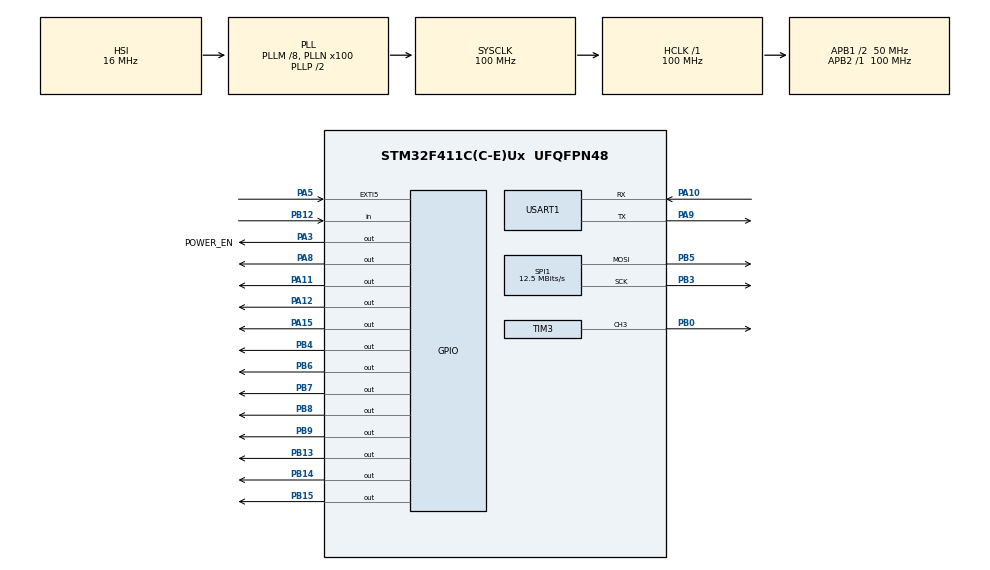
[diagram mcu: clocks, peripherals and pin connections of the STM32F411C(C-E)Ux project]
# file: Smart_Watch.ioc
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Dma.Request0=SPI1_TX
Dma.Request1=USART1_RX
Dma.SPI1_TX.0.Direction=DMA_MEMORY_TO_PERIPH
Dma.SPI1_TX.0.FIFOMode=DMA_FIFOMODE_DISABLE
Dma.SPI1_TX.0.Instance=DMA2_Stream2
Dma.SPI1_TX.0.MemDataAlignment=DMA_MDATAALIGN_HALFWORD
Dma.SPI1_TX.0.MemInc=DMA_MINC_ENABLE
Dma.SPI1_TX.0.Mode=DMA_NORMAL
Dma.SPI1_TX.0.PeriphDataAlignment=DMA_PDATAALIGN_HALFWORD
Dma.SPI1_TX.0.PeriphInc=DMA_PINC_DISABLE
Dma.SPI1_TX.0.Priority=DMA_PRIORITY_LOW
Dma.USART1_RX.1.Direction=DMA_PERIPH_TO_MEMORY
Dma.USART1_RX.1.FIFOMode=DMA_FIFOMODE_DISABLE
Dma.USART1_RX.1.Instance=DMA2_Stream5
Dma.USART1_RX.1.MemDataAlignment=DMA_MDATAALIGN_BYTE
Dma.USART1_RX.1.MemInc=DMA_MINC_ENABLE
Dma.USART1_RX.1.Mode=DMA_CIRCULAR
Dma.USART1_RX.1.PeriphDataAlignment=DMA_PDATAALIGN_BYTE
Dma.USART1_RX.1.PeriphInc=DMA_PINC_DISABLE
Dma.USART1_RX.1.Priority=DMA_PRIORITY_MEDIUM
FREERTOS.BinarySemaphores01=BT_switch,Dynamic,NULL,Available
FREERTOS.Mutexes01=ReadDataMutex,Dynamic,NULL,Available;UartMutex,Dynamic,NULL,Available
FREERTOS.Queues01=BTTxQueue,8,128,1,Dynamic,NULL,NULL
FREERTOS.Tasks01=LVGL_Tick,40,2048,StartLVGL_Tick,Default,NULL,Dynamic,NULL,NULL;AHT21_task,24,256,AHT21_starttask,Default,NULL,Dynamic,NULL,NULL;MPU6050_task,24,256,MPU6050_starttask,Default,NULL,Dynamic,NULL,NULL;SPL06_001_task,24,256,SPL06_starttask,Default,NULL,Dynamic,NULL,NULL;EM7028_task,24,256,EM7028_starttask,Default,NULL,Dynamic,NULL,NULL;LSM303DLHC_task,24,256,LSM303_starttask,Default,NULL,Dynamic,NULL,NULL;BT_task,23,256,BT_starttask,Default,NULL,Dynamic,NULL,NULL;Key_task,39,64,Key_starttask,Default,NULL,Dynamic,NULL,NULL;vUartTxTask,23,256,vUartTxTaskStart,Default,NULL,Dynamic,NULL,NULL
FREERTOS.Timers01=StopwatchTimer,StopwatchTimerCallback,osTimerPeriodic,Default,NULL,Dynamic,NULL;CountdownTimer,CountdownTimerCallback,osTimerOnce,Default,NULL,Dynamic,NULL
FREERTOS.configENABLE_FPU=1
FREERTOS.configMINIMAL_STACK_SIZE=64
FREERTOS.configTOTAL_HEAP_SIZE=30720
Mcu.Family=STM32F4
Mcu.Name=STM32F411C(C-E)Ux
Mcu.Package=UFQFPN48
NVIC.DMA2_Stream2_IRQn=true\:5\:0\:false\:false\:true\:true\:false\:true\:true
NVIC.DMA2_Stream5_IRQn=true\:5\:0\:false\:false\:true\:true\:false\:true\:true
NVIC.EXTI9_5_IRQn=true\:5\:0\:false\:false\:true\:true\:false\:true\:true
NVIC.PriorityGroup=NVIC_PRIORITYGROUP_4
NVIC.TIM1_TRG_COM_TIM11_IRQn=true\:15\:0\:false\:false\:true\:false\:false\:true\:true
NVIC.TimeBase=TIM1_TRG_COM_TIM11_IRQn
NVIC.TimeBaseIP=TIM11
NVIC.USART1_IRQn=true\:5\:0\:false\:false\:true\:true\:true\:true\:true
PA10.Mode=Asynchronous
PA10.Signal=USART1_RX
PA11.GPIO_Speed=GPIO_SPEED_FREQ_HIGH
PA11.Signal=GPIO_Output
PA12.GPIO_Speed=GPIO_SPEED_FREQ_HIGH
PA12.Signal=GPIO_Output
PA13.Mode=Serial_Wire
PA13.Signal=SYS_JTMS-SWDIO
PA14.Mode=Serial_Wire
PA14.Signal=SYS_JTCK-SWCLK
PA15.GPIO_Speed=GPIO_SPEED_FREQ_HIGH
PA15.Signal=GPIO_Output
PA3.GPIO_Label=POWER_EN
PA3.PinState=GPIO_PIN_SET
PA3.Signal=GPIO_Output
PA5.GPIO_ModeDefaultEXTI=GPIO_MODE_IT_FALLING
PA5.GPIO_PuPd=GPIO_PULLUP
PA5.Signal=GPXTI5
PA8.GPIO_ModeDefaultOutputPP=GPIO_MODE_OUTPUT_PP
PA8.GPIO_Speed=GPIO_SPEED_FREQ_HIGH
PA8.Signal=GPIO_Output
PA9.Mode=Asynchronous
PA9.Signal=USART1_TX
PB0.Signal=S_TIM3_CH3
PB12.GPIO_Mode=GPIO_MODE_INPUT
PB12.GPIO_PuPd=GPIO_PULLUP
PB12.Signal=GPIO_Input
PB13.GPIO_ModeDefaultOutputPP=GPIO_MODE_OUTPUT_OD
PB13.GPIO_PuPd=GPIO_NOPULL
PB13.GPIO_Speed=GPIO_SPEED_FREQ_HIGH
PB13.Signal=GPIO_Output
PB14.GPIO_ModeDefaultOutputPP=GPIO_MODE_OUTPUT_OD
PB14.GPIO_PuPd=GPIO_NOPULL
PB14.GPIO_Speed=GPIO_SPEED_FREQ_HIGH
PB14.Signal=GPIO_Output
PB15.GPIO_ModeDefaultOutputPP=GPIO_MODE_OUTPUT_PP
PB15.GPIO_Speed=GPIO_SPEED_FREQ_HIGH
PB15.PinState=GPIO_PIN_RESET
PB15.Signal=GPIO_Output
PB3.Mode=TX_Only_Simplex_Unidirect_Master
PB3.Signal=SPI1_SCK
PB4.GPIO_ModeDefaultOutputPP=GPIO_MODE_OUTPUT_OD
PB4.GPIO_Speed=GPIO_SPEED_FREQ_HIGH
PB4.PinState=GPIO_PIN_SET
PB4.Signal=GPIO_Output
PB5.Mode=TX_Only_Simplex_Unidirect_Master
PB5.Signal=SPI1_MOSI
PB6.GPIO_ModeDefaultOutputPP=GPIO_MODE_OUTPUT_OD
PB6.GPIO_Speed=GPIO_SPEED_FREQ_HIGH
PB6.PinState=GPIO_PIN_SET
PB6.Signal=GPIO_Output
PB7.GPIO_Speed=GPIO_SPEED_FREQ_HIGH
PB7.Signal=GPIO_Output
PB8.GPIO_Speed=GPIO_SPEED_FREQ_HIGH
PB8.Signal=GPIO_Output
PB9.GPIO_Speed=GPIO_SPEED_FREQ_HIGH
PB9.Signal=GPIO_Output
PC14-OSC32_IN.Mode=LSE-External-Oscillator
PC14-OSC32_IN.Signal=RCC_OSC32_IN
PC15-OSC32_OUT.Mode=LSE-External-Oscillator
PC15-OSC32_OUT.Signal=RCC_OSC32_OUT
ProjectManager.HeapSize=0x200
ProjectManager.StackSize=0x400
ProjectManager.TargetToolchain=CMake
RCC.48MHZClocksFreq_Value=50000000
RCC.AHBFreq_Value=100000000
RCC.APB1CLKDivider=RCC_HCLK_DIV2
RCC.APB1Freq_Value=50000000
RCC.APB1TimFreq_Value=100000000
RCC.APB2Freq_Value=100000000
RCC.APB2TimFreq_Value=100000000
RCC.CortexFreq_Value=100000000
RCC.HCLKFreq_Value=100000000
RCC.HSE_VALUE=25000000
RCC.HSI_VALUE=16000000
RCC.PLLM=8
RCC.PLLN=100
RCC.SYSCLKFreq_VALUE=100000000
RCC.SYSCLKSource=RCC_SYSCLKSOURCE_PLLCLK
RCC.VCOOutputFreq_Value=200000000
RTC.AsynchPrediv=127
RTC.Date=23
RTC.Format=RTC_FORMAT_BIN
RTC.Hours=10
RTC.Minutes=24
RTC.Month=RTC_MONTH_NOVEMBER
RTC.SynchPrediv=249
RTC.Year=26
SH.S_TIM3_CH3.0=TIM3_CH3,PWM Generation3 CH3
SPI1.BaudRatePrescaler=SPI_BAUDRATEPRESCALER_8
SPI1.CLKPhase=SPI_PHASE_1EDGE
SPI1.CalculateBaudRate=12.5 MBits/s
SPI1.Direction=SPI_DIRECTION_2LINES
SPI1.Mode=SPI_MODE_MASTER
SPI1.VirtualType=VM_MASTER
TIM3.Channel-PWM\ Generation3\ CH3=TIM_CHANNEL_3
TIM3.Period=300
TIM3.Prescaler=100-1
USART1.VirtualMode=VM_ASYNC
VP_FREERTOS_VS_CMSIS_V2.Mode=CMSIS_V2
VP_RTC_VS_RTC_Activate.Mode=RTC_Enabled
VP_RTC_VS_RTC_Calendar.Mode=RTC_Calendar
VP_SYS_VS_tim11.Mode=TIM11
board=custom

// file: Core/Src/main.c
/* USER CODE BEGIN Header */
/**
  ******************************************************************************
  * @file           : main.c
  * @brief          : Main program body
  ******************************************************************************
  * @attention
  *
  * Copyright (c) 2026 STMicroelectronics.
  * All rights reserved.
  *
  * This software is licensed under terms that can be found in the LICENSE file
  * in the root directory of this software component.
  * If no LICENSE file comes with this software, it is provided AS-IS.
  *
  ******************************************************************************
  */
/* USER CODE END Header */
#include "main.h"
#include "cmsis_os.h"
#include "dma.h"
#include "rtc.h"
#include "spi.h"
#include "tim.h"
#include "usart.h"
#include "gpio.h"

void SystemClock_Config(void);
void MX_FREERTOS_Init(void);

int main(void)
{

  /* MCU Configuration--------------------------------------------------------*/

  /* Reset of all peripherals, Initializes the Flash interface and the Systick. */
  HAL_Init();

  /* Configure the system clock */
  SystemClock_Config();

  /* Initialize all configured peripherals */
  MX_GPIO_Init();
  MX_DMA_Init();
  MX_SPI1_Init();
  MX_TIM3_Init();
  MX_USART1_UART_Init();
  MX_RTC_Init();

  /* Init scheduler */
  osKernelInitialize();  /* Call init function for freertos objects (in cmsis_os2.c) */
  MX_FREERTOS_Init();

  /* Start scheduler */
  osKernelStart();

  /* We should never get here as control is now taken by the scheduler */

  /* Infinite loop */
  while (1)
  {

  }
}

void SystemClock_Config(void)
{
  RCC_OscInitTypeDef RCC_OscInitStruct = {0};
  RCC_ClkInitTypeDef RCC_ClkInitStruct = {0};

  /** Configure the main internal regulator output voltage
  */
  __HAL_RCC_PWR_CLK_ENABLE();
  __HAL_PWR_VOLTAGESCALING_CONFIG(PWR_REGULATOR_VOLTAGE_SCALE1);

  /** Initializes the RCC Oscillators according to the specified parameters
  * in the RCC_OscInitTypeDef structure.
  */
  RCC_OscInitStruct.OscillatorType = RCC_OSCILLATORTYPE_HSI|RCC_OSCILLATORTYPE_LSI;
  RCC_OscInitStruct.HSIState = RCC_HSI_ON;
  RCC_OscInitStruct.HSICalibrationValue = RCC_HSICALIBRATION_DEFAULT;
  RCC_OscInitStruct.LSIState = RCC_LSI_ON;
  RCC_OscInitStruct.PLL.PLLState = RCC_PLL_ON;
  RCC_OscInitStruct.PLL.PLLSource = RCC_PLLSOURCE_HSI;
  RCC_OscInitStruct.PLL.PLLM = 8;
  RCC_OscInitStruct.PLL.PLLN = 100;
  RCC_OscInitStruct.PLL.PLLP = RCC_PLLP_DIV2;
  RCC_OscInitStruct.PLL.PLLQ = 4;
  if (HAL_RCC_OscConfig(&RCC_OscInitStruct) != HAL_OK)
  {
    Error_Handler();
  }

  /** Initializes the CPU, AHB and APB buses clocks
  */
  RCC_ClkInitStruct.ClockType = RCC_CLOCKTYPE_HCLK|RCC_CLOCKTYPE_SYSCLK
                              |RCC_CLOCKTYPE_PCLK1|RCC_CLOCKTYPE_PCLK2;
  RCC_ClkInitStruct.SYSCLKSource = RCC_SYSCLKSOURCE_PLLCLK;
  RCC_ClkInitStruct.AHBCLKDivider = RCC_SYSCLK_DIV1;
  RCC_ClkInitStruct.APB1CLKDivider = RCC_HCLK_DIV2;
  RCC_ClkInitStruct.APB2CLKDivider = RCC_HCLK_DIV1;

  if (HAL_RCC_ClockConfig(&RCC_ClkInitStruct, FLASH_LATENCY_3) != HAL_OK)
  {
    Error_Handler();
  }
}

void HAL_TIM_PeriodElapsedCallback(TIM_HandleTypeDef *htim)
{
  if (htim->Instance == TIM11)
  {
    HAL_IncTick();
  }
}

void Error_Handler(void)
{
  __disable_irq();
  while (1)
  {
  }
}

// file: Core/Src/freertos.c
/* USER CODE BEGIN Header */
/**
  ******************************************************************************
  * File Name          : freertos.c
  * Description        : Code for freertos applications
  ******************************************************************************
  * @attention
  *
  * Copyright (c) 2026 STMicroelectronics.
  * All rights reserved.
  *
  * This software is licensed under terms that can be found in the LICENSE file
  * in the root directory of this software component.
  * If no LICENSE file comes with this software, it is provided AS-IS.
  *
  ******************************************************************************
  */
/* USER CODE END Header */

#include "FreeRTOS.h"
#include "task.h"
#include "main.h"
#include "cmsis_os.h"

/* USER CODE BEGIN Includes */
#include "AHT21.h"
#include "MPU6050.h"
#include "LSM303DLHC.h"
#include "EM7028.h"
#include "SPL06_001.h"
#include "lvgl.h"
#include "usart.h"
#include "watch_display.h"
#include "watch_power.h"
#include "WatchTimer.h"
#include "Led.h"
#include "Key.h"
#include "iic_hal.h"
#include "Uart_APP.h"
#include "custom.h"
#include <stdint.h>
#include <string.h>
/* USER CODE END Includes */

/* USER CODE BEGIN PD */

#define DISPLAY_KEY1_ACTIVITY (1U << 0)
#define DISPLAY_STOPWATCH_TICK (1U << 1)
#define DISPLAY_COUNTDOWN_DONE (1U << 2)

volatile key_event_t key_state = KEY_EVT_NONE;

/* USER CODE END PD */

/* Definitions for LVGL_Tick */
osThreadId_t LVGL_TickHandle;
const osThreadAttr_t LVGL_Tick_attributes = {
  .name = "LVGL_Tick",
  .stack_size = 2048 * 4,
  .priority = (osPriority_t) osPriorityHigh,
};
/* Definitions for AHT21_task */
osThreadId_t AHT21_taskHandle;
const osThreadAttr_t AHT21_task_attributes = {
  .name = "AHT21_task",
  .stack_size = 256 * 4,
  .priority = (osPriority_t) osPriorityNormal,
};
/* Definitions for MPU6050_task */
osThreadId_t MPU6050_taskHandle;
const osThreadAttr_t MPU6050_task_attributes = {
  .name = "MPU6050_task",
  .stack_size = 256 * 4,
  .priority = (osPriority_t) osPriorityNormal,
};
/* Definitions for SPL06_001_task */
osThreadId_t SPL06_001_taskHandle;
const osThreadAttr_t SPL06_001_task_attributes = {
  .name = "SPL06_001_task",
  .stack_size = 256 * 4,
  .priority = (osPriority_t) osPriorityNormal,
};
/* Definitions for EM7028_task */
osThreadId_t EM7028_taskHandle;
const osThreadAttr_t EM7028_task_attributes = {
  .name = "EM7028_task",
  .stack_size = 256 * 4,
  .priority = (osPriority_t) osPriorityNormal,
};
/* Definitions for LSM303DLHC_task */
osThreadId_t LSM303DLHC_taskHandle;
const osThreadAttr_t LSM303DLHC_task_attributes = {
  .name = "LSM303DLHC_task",
  .stack_size = 256 * 4,
  .priority = (osPriority_t) osPriorityNormal,
};
/* Definitions for BT_task */
osThreadId_t BT_taskHandle;
const osThreadAttr_t BT_task_attributes = {
  .name = "BT_task",
  .stack_size = 256 * 4,
  .priority = (osPriority_t) osPriorityBelowNormal7,
};
/* Definitions for Key_task */
osThreadId_t Key_taskHandle;
const osThreadAttr_t Key_task_attributes = {
  .name = "Key_task",
  .stack_size = 64 * 4,
  .priority = (osPriority_t) osPriorityAboveNormal7,
};
/* Definitions for vUartTxTask */
osThreadId_t vUartTxTaskHandle;
const osThreadAttr_t vUartTxTask_attributes = {
  .name = "vUartTxTask",
  .stack_size = 256 * 4,
  .priority = (osPriority_t) osPriorityBelowNormal7,
};
/* Definitions for BTTxQueue */
osMessageQueueId_t BTTxQueueHandle;
const osMessageQueueAttr_t BTTxQueue_attributes = {
  .name = "BTTxQueue"
};
/* Definitions for StopwatchTimer */
osTimerId_t StopwatchTimerHandle;
const osTimerAttr_t StopwatchTimer_attributes = {
  .name = "StopwatchTimer"
};
/* Definitions for CountdownTimer */
osTimerId_t CountdownTimerHandle;
const osTimerAttr_t CountdownTimer_attributes = {
  .name = "CountdownTimer"
};
/* Definitions for ReadDataMutex */
osMutexId_t ReadDataMutexHandle;
const osMutexAttr_t ReadDataMutex_attributes = {
  .name = "ReadDataMutex"
};
/* Definitions for UartMutex */
osMutexId_t UartMutexHandle;
const osMutexAttr_t UartMutex_attributes = {
  .name = "UartMutex"
};
/* Definitions for BT_switch */
osSemaphoreId_t BT_switchHandle;
const osSemaphoreAttr_t BT_switch_attributes = {
  .name = "BT_switch"
};

void StartLVGL_Tick(void *argument);
void AHT21_starttask(void *argument);
void MPU6050_starttask(void *argument);
void SPL06_starttask(void *argument);
void EM7028_starttask(void *argument);
void LSM303_starttask(void *argument);
void BT_starttask(void *argument);
void Key_starttask(void *argument);
void vUartTxTaskStart(void *argument);
void StopwatchTimerCallback(void *argument);
void CountdownTimerCallback(void *argument);

void MX_FREERTOS_Init(void); /* (MISRA C 2004 rule 8.1) */

void MX_FREERTOS_Init(void) {
  /* Create the mutex(es) */
  /* creation of ReadDataMutex */
  ReadDataMutexHandle = osMutexNew(&ReadDataMutex_attributes);

  /* creation of UartMutex */
  UartMutexHandle = osMutexNew(&UartMutex_attributes);

  /* Create the semaphores(s) */
  /* creation of BT_switch */
  BT_switchHandle = osSemaphoreNew(1, 1, &BT_switch_attributes);

  /* Create the timer(s) */
  StopwatchTimerHandle = osTimerNew(StopwatchTimerCallback, osTimerPeriodic, NULL, &StopwatchTimer_attributes);
  CountdownTimerHandle = osTimerNew(CountdownTimerCallback, osTimerOnce, NULL, &CountdownTimer_attributes);

  /* Create the queue(s) */
  /* creation of BTTxQueue */
  BTTxQueueHandle = osMessageQueueNew (8, 128, &BTTxQueue_attributes);

  /* Create the thread(s) */
  /* creation of LVGL_Tick */
  LVGL_TickHandle = osThreadNew(StartLVGL_Tick, NULL, &LVGL_Tick_attributes);

  /* creation of AHT21_task */
  AHT21_taskHandle = osThreadNew(AHT21_starttask, NULL, &AHT21_task_attributes);

  /* creation of MPU6050_task */
  MPU6050_taskHandle = osThreadNew(MPU6050_starttask, NULL, &MPU6050_task_attributes);

  /* creation of SPL06_001_task */
  SPL06_001_taskHandle = osThreadNew(SPL06_starttask, NULL, &SPL06_001_task_attributes);

  /* creation of EM7028_task */
  EM7028_taskHandle = osThreadNew(EM7028_starttask, NULL, &EM7028_task_attributes);

  /* creation of LSM303DLHC_task */
  LSM303DLHC_taskHandle = osThreadNew(LSM303_starttask, NULL, &LSM303DLHC_task_attributes);

  /* creation of BT_task */
  BT_taskHandle = osThreadNew(BT_starttask, NULL, &BT_task_attributes);

  /* creation of Key_task */
  Key_taskHandle = osThreadNew(Key_starttask, NULL, &Key_task_attributes);

  /* creation of vUartTxTask */
  vUartTxTaskHandle = osThreadNew(vUartTxTaskStart, NULL, &vUartTxTask_attributes);

}

void StartLVGL_Tick(void *argument)
{
  /* USER CODE BEGIN StartLVGL_Tick */
  Watch_Display_Init();
  for(;;)
  {
    uint32_t flags = osThreadFlagsWait(DISPLAY_KEY1_ACTIVITY | DISPLAY_STOPWATCH_TICK | DISPLAY_COUNTDOWN_DONE,
                                       osFlagsWaitAny, pdMS_TO_TICKS(5U));
    if (flags & osFlagsError) flags = 0U;
    if (osSemaphoreAcquire(BT_switchHandle, 0U) == osOK)
      BT_SyncControls(&guider_ui);
    lv_timer_handler();
    if (flags & DISPLAY_STOPWATCH_TICK) Stopwatch_Refresh();
    if (flags & DISPLAY_COUNTDOWN_DONE) Countdown_Expired();
    Watch_Display_UpdatePower((flags & DISPLAY_KEY1_ACTIVITY) != 0U);
  }
  /* USER CODE END StartLVGL_Tick */
}

void AHT21_starttask(void *argument)
{
  /* USER CODE BEGIN AHT21_starttask */
  const TickType_t sample_period = pdMS_TO_TICKS(1000U);
  TickType_t last_wake = xTaskGetTickCount();
  uint8_t ready = 0U;

  for(;;)
  {
    if (Watch_Power_BeginSample()) {
      if (!ready) {
        ready = AHT21_Init();
        if (ready) last_wake = xTaskGetTickCount();
      }
      if (ready) ready = AHT21_Read();
      Watch_Power_EndSample();
    }
    vTaskDelayUntil(&last_wake, sample_period);
  }
  /* USER CODE END AHT21_starttask */
}

void MPU6050_starttask(void *argument)
{
  /* USER CODE BEGIN MPU6050_starttask */

  const TickType_t sample_period = pdMS_TO_TICKS(20U);
  TickType_t last_wake = xTaskGetTickCount();

  /* Infinite loop */
  for(;;)
  {
    if (Watch_Power_BeginSample()) {
      MPU6050_Read();
      Watch_Power_EndSample();
    }
    vTaskDelayUntil(&last_wake, sample_period);
  }
  /* USER CODE END MPU6050_starttask */
}

void SPL06_starttask(void *argument)
{
  /* USER CODE BEGIN SPL06_starttask */
  const TickType_t sample_period = pdMS_TO_TICKS(50U);
  TickType_t last_wake = xTaskGetTickCount();
  /* Infinite loop */
  for(;;)
  {
    if (Watch_Power_BeginSample()) {
      SPL06_001_Read();
      Watch_Power_EndSample();
    }
    vTaskDelayUntil(&last_wake, sample_period);
  }
  /* USER CODE END SPL06_starttask */
}

void EM7028_starttask(void *argument)
{
  /* USER CODE BEGIN EM7028_starttask */
  const TickType_t sample_period = pdMS_TO_TICKS(10U);
  TickType_t last_wake = xTaskGetTickCount();
  /* Infinite loop */
  for(;;)
  {
    if (Watch_Power_BeginSample()) {
      EM7028_Read();
      Watch_Power_EndSample();
    }
    vTaskDelayUntil(&last_wake, sample_period);
  }
  /* USER CODE END EM7028_starttask */
}

void LSM303_starttask(void *argument)
{
  /* USER CODE BEGIN LSM303_starttask */
  const TickType_t sample_period = pdMS_TO_TICKS(20U);
  TickType_t last_wake = xTaskGetTickCount();
  /* Infinite loop */
  for(;;)
  {
    if (Watch_Power_BeginSample()) {
      LSM303DLHC_Read();
      Watch_Power_EndSample();
    }
    vTaskDelayUntil(&last_wake, sample_period);
  }
  /* USER CODE END LSM303_starttask */
}

void BT_starttask(void *argument)
{
  /* USER CODE BEGIN BT_starttask */
  /* Infinite loop */
  for(;;)
  {

    uint32_t timeout = BT_IsEnabled() ? pdMS_TO_TICKS(BT_TEST_PERIOD_MS) : osWaitForever;
    uint32_t flags = osThreadFlagsWait(BT_SWITCH_CHANGED, osFlagsWaitAny, timeout);
    if (flags == osFlagsErrorTimeout && BT_IsEnabled())
    {
      Uart_printf("A");
    }
  }
  /* USER CODE END BT_starttask */
}

void Key_starttask(void *argument)
{
  /* USER CODE BEGIN Key_starttask */
  /* Infinite loop */
  for(;;)
  {

    key_state = key_scan(GPIOA, GPIO_PIN_5);
    if (key_is_pressed())
        osThreadFlagsSet(LVGL_TickHandle, DISPLAY_KEY1_ACTIVITY);

    osDelay(pdMS_TO_TICKS(10U));
  }
  /* USER CODE END Key_starttask */
}

void vUartTxTaskStart(void *argument)
{
  /* USER CODE BEGIN vUartTxTaskStart */
  char buf[UART_TX_ITEM_SIZE];
  /* Infinite loop */
  for(;;)
  {

    if (osMessageQueueGet(BTTxQueueHandle, buf, NULL, osWaitForever) != osOK) continue;
    if (osMutexAcquire(UartMutexHandle, pdMS_TO_TICKS(30U)) == osOK)
    {
      if (BT_IsEnabled())
        HAL_UART_Transmit(&huart1, (uint8_t*)buf, strlen(buf), 30U);
      osMutexRelease(UartMutexHandle);
    }
  }
  /* USER CODE END vUartTxTaskStart */
}

/* StopwatchTimerCallback function */
void StopwatchTimerCallback(void *argument)
{
  /* USER CODE BEGIN StopwatchTimerCallback */
  (void)argument;
  osThreadFlagsSet(LVGL_TickHandle, DISPLAY_STOPWATCH_TICK);
  /* USER CODE END StopwatchTimerCallback */
}

/* CountdownTimerCallback function */
void CountdownTimerCallback(void *argument)
{
  /* USER CODE BEGIN CountdownTimerCallback */
  (void)argument;
  osThreadFlagsSet(LVGL_TickHandle, DISPLAY_COUNTDOWN_DONE);
  /* USER CODE END CountdownTimerCallback */
}

/* USER CODE BEGIN Application */

uint8_t IIC_SensorBusLock(void)
{
  return osMutexAcquire(ReadDataMutexHandle, pdMS_TO_TICKS(15U)) == osOK;
}

void IIC_SensorBusUnlock(void)
{
  osMutexRelease(ReadDataMutexHandle);
}

/* USER CODE END Application */
